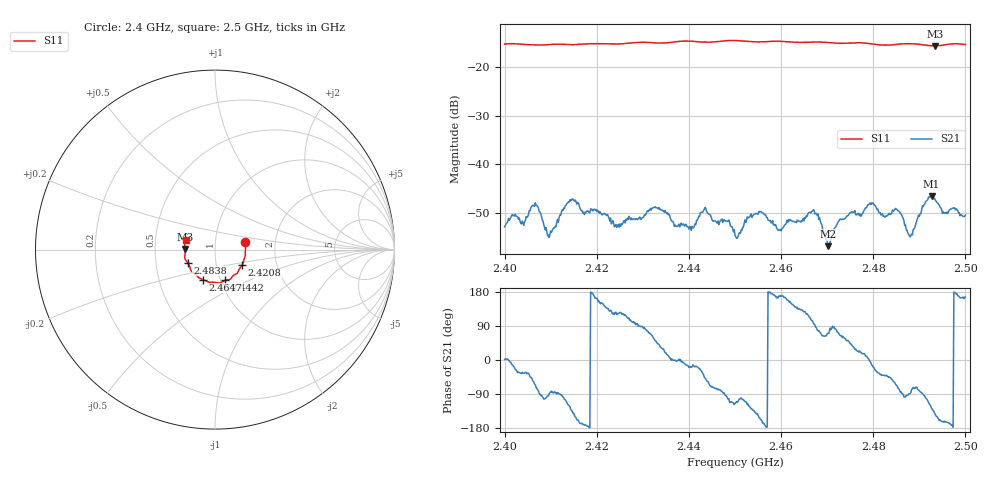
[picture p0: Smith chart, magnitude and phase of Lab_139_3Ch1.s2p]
# Hz S RI R 50
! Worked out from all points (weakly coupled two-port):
!   601 points, 2.4 GHz to 2.5 GHz, reference 50 ohm
!   highest |S21| = -46.55 dB at 2.4927 GHz (marker M1); lowest = -56.8 dB at 2.4702 GHz (marker M2)
!   lowest |S11| = -15.6 dB at 2.4935 GHz (marker M3), VSWR 1.40, Z = 35.8 + j0.207 ohm
!   |S11| at or under -10 dB: start of sweep to end of sweep
!   S12 and S22 are empty: the file has one direction only
!   S11 on the Smith chart (normalised r, x): 2.4 GHz: 1.40, +0.12; 2.4208 GHz: 1.33, -0.24; 2.4442 GHz: 1.05, -0.37; 2.4647 GHz: 0.83, -0.29; 2.4838 GHz: 0.73, -0.11; 2.5 GHz: 0.72, +0.08
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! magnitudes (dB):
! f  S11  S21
! 2.4 GHz  -15.2  -52.8
! 2.4067 GHz  -15.4  -47.9
! 2.4097 GHz  -15.3  -55.0
! 2.414 GHz  -15.4  -47.7
! 2.4167 GHz  -15.3  -49.5
! 2.4208 GHz  -15.2  -50.0
! 2.4243 GHz  -15.2  -52.9
! 2.4333 GHz  -15.0  -49.1
! 2.4405 GHz  -14.7  -53.5
! 2.4442 GHz  -14.9  -50.1
! 2.45 GHz  -14.5  -54.5
! 2.4553 GHz  -14.8  -49.7
! 2.4647 GHz  -14.9  -51.6
! 2.4667 GHz  -14.8  -49.6
! 2.4702 GHz  -14.9  -56.8
! 2.4793 GHz  -15.2  -47.9
! 2.4833 GHz  -15.5  -50.1
! 2.4838 GHz  -15.4  -50.1
! 2.488 GHz  -15.2  -54.9
! 2.4927 GHz  -15.6  -46.5
! 2.4935 GHz  -15.6  -47.4
! 2.5 GHz  -15.3  -50.4
